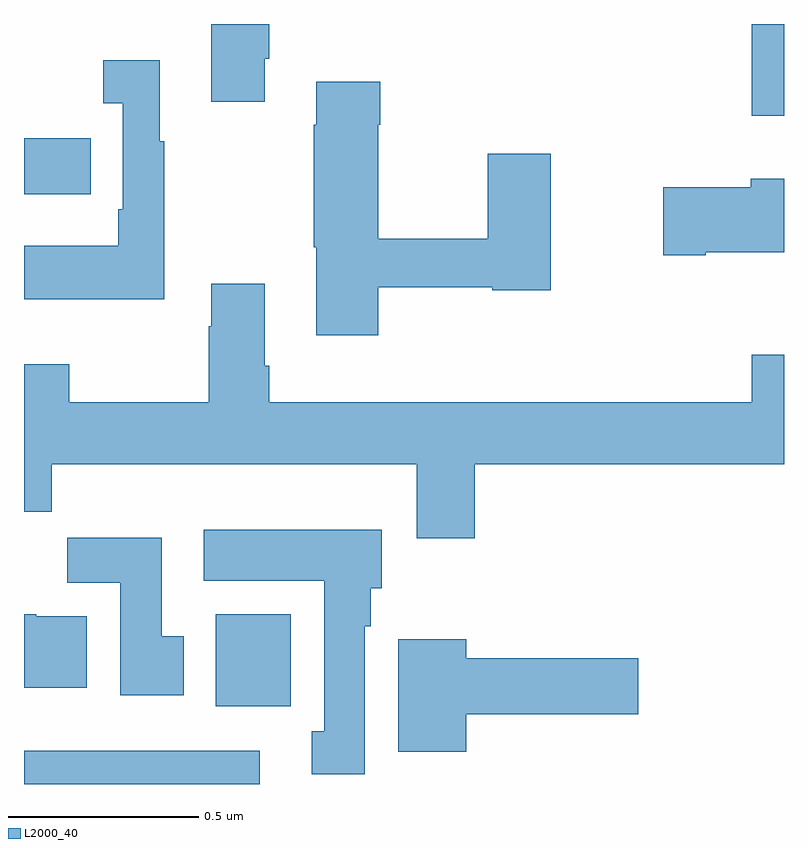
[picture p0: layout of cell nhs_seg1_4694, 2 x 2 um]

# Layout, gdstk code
import gdstk
lib = gdstk.Library(unit=1e-6, precision=1e-09)
def R(c, l, rs):  # rectangles x0, y0, x1, y1
    for r in rs: c.add(gdstk.rectangle(r[:2], r[2:], *l))
def P(c, l, *ps):  # polygons
    for p in ps: c.add(gdstk.Polygon(p, *l))
L2000_40 = (2000, 40)

nhs_seg1_4694 = lib.new_cell('nhs_seg1_4694')
R(nhs_seg1_4694, L2000_40, [(169,576.199,169.621,576.286), (169.505,576.404,169.702,576.646), (169,577.751,169.175,577.899), (170.915,577.958,171,578.199)])
P(nhs_seg1_4694, L2000_40, [(169.633,578.107),(169.646,578.107),(169.646,578.199),(169.493,578.199),(169.493,577.995),(169.633,577.995)],
  [(169.369,577.891),(169.357,577.891),(169.357,578.104),(169.209,578.104),(169.209,577.991),(169.26,577.991),(169.26,577.711),(169.248,577.711),(169.248,577.615),(169,577.615),(169,577.475),(169.369,577.475)],
  [(169.932,577.506),(170.232,577.506),(170.232,577.498),(170.386,577.498),(170.386,577.858),(170.221,577.858),(170.221,577.634),(169.932,577.634),(169.932,577.934),(169.937,577.934),(169.937,578.047),(169.769,578.047),(169.769,577.934),(169.762,577.934),(169.762,577.611),(169.769,577.611),(169.769,577.38),(169.932,577.38)],
  [(170.794,577.598),(171,577.598),(171,577.792),(170.912,577.792),(170.912,577.769),(170.682,577.769),(170.682,577.591),(170.794,577.591)],
  [(170.186,577.04),(171,577.04),(171,577.328),(170.915,577.328),(170.915,577.204),(169.646,577.204),(169.646,577.3),(169.633,577.3),(169.633,577.516),(169.493,577.516),(169.493,577.403),(169.486,577.403),(169.486,577.204),(169.119,577.204),(169.119,577.303),(169,577.303),(169,576.916),(169.073,576.916),(169.073,577.04),(170.033,577.04),(170.033,576.846),(170.186,576.846)],
  [(169.897,576.614),(169.912,576.614),(169.912,576.714),(169.942,576.714),(169.942,576.868),(169.473,576.868),(169.473,576.734),(169.79,576.734),(169.79,576.338),(169.757,576.338),(169.757,576.225),(169.897,576.225)],
  [(169.42,576.588),(169.363,576.588),(169.363,576.847),(169.114,576.847),(169.114,576.728),(169.253,576.728),(169.253,576.432),(169.42,576.432)],
  [(169.165,576.64),(169.032,576.64),(169.032,576.646),(169,576.646),(169,576.452),(169.165,576.452)],
  [(170.164,576.383),(170.617,576.383),(170.617,576.53),(170.164,576.53),(170.164,576.58),(169.985,576.58),(169.985,576.284),(170.164,576.284)])

lib.write_gds('nhs_seg1_4694.gds')
